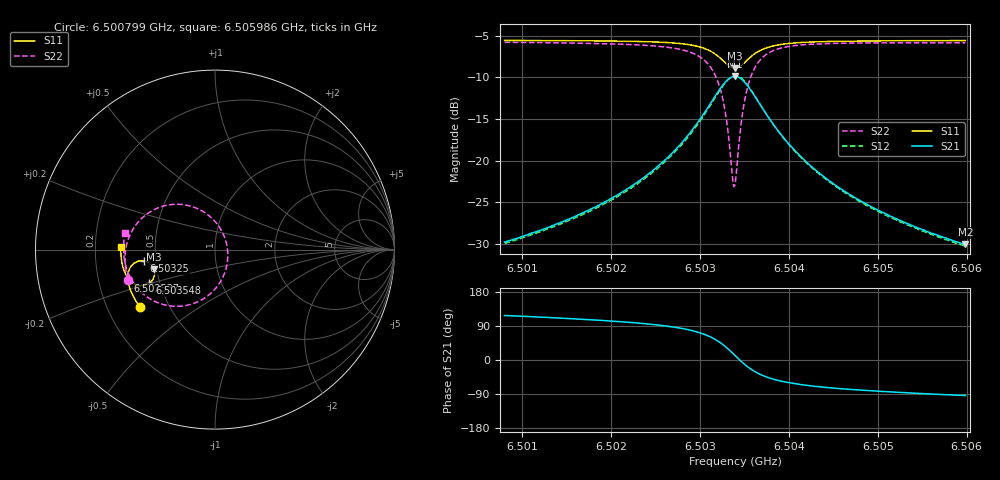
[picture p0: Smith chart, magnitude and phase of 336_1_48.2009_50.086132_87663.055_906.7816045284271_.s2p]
#  HZ  S  RI  R  50.00
! Rohde & Schwarz Vector Network Analyzer
! Rohde-Schwarz,ZNB20-2Port,1311601062101988,3.16
! Created: UTC 3/20/2024, 11:51:05 AM
! freq[Hz]  re:S11  im:S11  re:S21  im:S21  re:S12  im:S12  re:S22  im:S22
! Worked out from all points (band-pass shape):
!   401 points, 6.500799 GHz to 6.505986 GHz, reference 50 ohm
!   highest |S21| = -9.87 dB at 6.503393 GHz (marker M1); lowest = -30.0 dB at 6.505986 GHz (marker M2)
!   |S21| within 3 dB of the highest: 6.503133 GHz to 6.503651 GHz (518.5 kHz wide, 0.00797 % of centre)
!   lowest |S11| = -8.9 dB at 6.503393 GHz (marker M3), VSWR 2.11, Z = 24.1 - j6.12 ohm
!   |S11| at or under -10 dB: nowhere
!   |S22| runs from -23.1 to -5.8 dB; largest |S21 - S12| = 0.011
!   S11 on the Smith chart (normalised r, x): 6.500799 GHz: 0.34, -0.30; 6.502537 GHz: 0.33, -0.15; 6.50325 GHz: 0.43, -0.06; 6.503548 GHz: 0.44, -0.20; 6.505986 GHz: 0.31, +0.01
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6.5007987e9  -0.4192 -0.3185  -0.015 0.0289  -0.0135 0.029  -0.4852 -0.1676
6.5016676e9  -0.4577 -0.2556  -0.0146 0.0461  -0.0123 0.0458  -0.501 -0.0778
6.5021345e9  -0.4747 -0.2152  -0.012 0.0644  -0.00906 0.0633  -0.4996 -0.0137
6.5025365e9  -0.485 -0.172  -0.00339 0.0937  0.00028 0.0917  -0.4815 0.0632
6.5028348e9  -0.4836 -0.1288  0.0202 0.1346  0.024 0.1305  -0.4322 0.1486
6.5030294e9  -0.4667 -0.0916  0.0663 0.1751  0.0692 0.1693  -0.3433 0.2206
6.5031591e9  -0.4352 -0.0673  0.1346 0.1976  0.1359 0.1913  -0.2192 0.2525
6.5032499e9  -0.3976 -0.0624  0.2097 0.1878  0.2102 0.1824  -0.0889 0.2243
6.5033017e9  -0.3724 -0.0708  0.2573 0.1603  0.2583 0.1555  -0.00994 0.1678
6.5033666e9  -0.3464 -0.0966  0.3041 0.0978  0.3064 0.0928  0.0603 0.0479
6.5033925e9  -0.3402 -0.1107  0.3142 0.0663  0.317 0.0605  0.0709 -0.0106
6.5034055e9  -0.3384 -0.1182  0.3168 0.0501  0.3198 0.0436  0.0714 -0.0405
6.5034574e9  -0.3392 -0.1486  0.3113 -0.0141  0.3139 -0.023  0.0436 -0.1542
6.5034833e9  -0.3443 -0.1621  0.2999 -0.0426  0.3019 -0.0523  0.0147 -0.202
6.5035481e9  -0.365 -0.1871  0.2584 -0.0955  0.257 -0.1063  -0.0793 -0.2825
6.5036519e9  -0.4036 -0.2019  0.1855 -0.1307  0.1804 -0.14  -0.2253 -0.3156
6.5038205e9  -0.4487 -0.192  0.1062 -0.128  0.0993 -0.133  -0.3685 -0.2703
6.5040021e9  -0.4757 -0.1705  0.0626 -0.1088  0.0565 -0.111  -0.4391 -0.2069
6.5042615e9  -0.4962 -0.1405  0.0332 -0.0853  0.0286 -0.0857  -0.4816 -0.136
6.5046376e9  -0.5114 -0.102  0.0151 -0.0633  0.0118 -0.0629  -0.5033 -0.0637
6.5051304e9  -0.5212 -0.0569  0.00491 -0.0466  0.00274 -0.0459  -0.5095 0.00398
6.5059864e9  -0.5258 0.0151  -0.00214 -0.0314  -0.00344 -0.0306  -0.5013 0.0925
